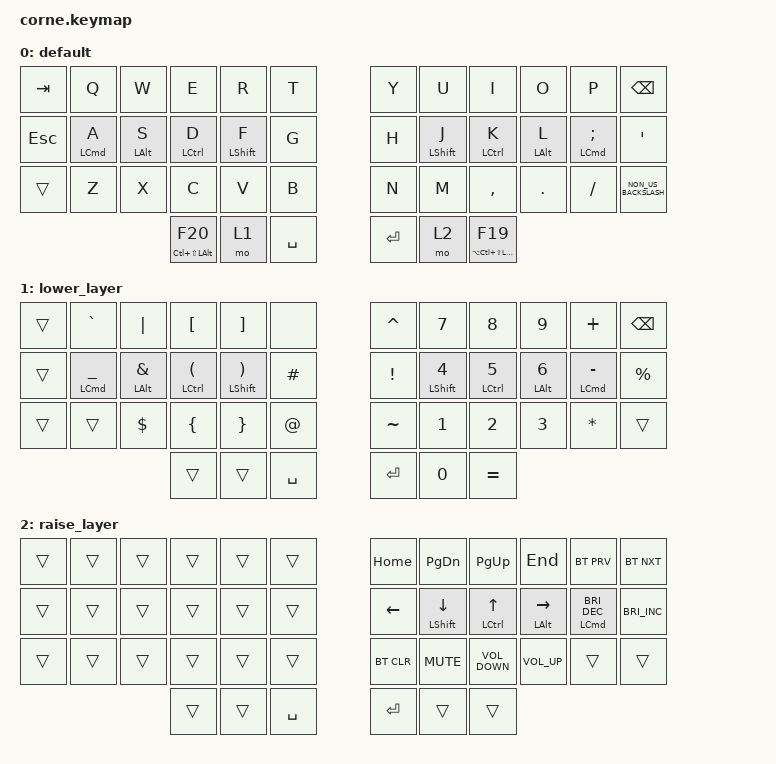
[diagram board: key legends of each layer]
/*
 * Copyright (c) 2020 The ZMK Contributors
 *
 * SPDX-License-Identifier: MIT
 */

#include <behaviors.dtsi>
#include <dt-bindings/zmk/bt.h>
#include <dt-bindings/zmk/keys.h>

/ {
    behaviors {
        hml: homewrow_mods_left {
            compatible = "zmk,behavior-hold-tap";
            label = "HOMEROW_MODS_LEFT_HAND";
            bindings = <&kp>, <&kp>;

            #binding-cells = <2>;
            tapping-term-ms = <200>;
            flavor = "balanced";
            hold-trigger-on-release;
        };

        hmr: homewrow_mods_right {
            compatible = "zmk,behavior-hold-tap";
            label = "HOMEROW_MODS_RIGHT_HAND";
            bindings = <&kp>, <&kp>;

            #binding-cells = <2>;
            tapping-term-ms = <200>;
            flavor = "balanced";
            hold-trigger-on-release;
        };

        hyper_or_f19: hyper_or_f19 {
            compatible = "zmk,behavior-hold-tap";
            label = "HYPER_OR_F19";
            bindings = <&kp>, <&kp>;

            #binding-cells = <2>;
            tapping-term-ms = <200>;
            flavor = "hold-preferred";
        };

        meh_or_f20: meh_or_f20 {
            compatible = "zmk,behavior-hold-tap";
            label = "MEH_OR_F20";
            bindings = <&kp>, <&kp>;

            #binding-cells = <2>;
            tapping-term-ms = <200>;
            flavor = "hold-preferred";
        };
    };

    keymap {
        compatible = "zmk,keymap";

        default {
            bindings = <
&kp TAB  &kp Q        &kp W        &kp E                         &kp R         &kp T        &kp Y      &kp U          &kp I                               &kp O        &kp P                &kp BSPC
&kp ESC  &hml LCMD A  &hml LALT S  &hml LCTRL D                  &hml LSHFT F  &kp G        &kp H      &hmr LSHIFT J  &hmr LCTRL K                        &hmr LALT L  &hmr LCMD SEMICOLON  &kp APOS
&trans   &kp Z        &kp X        &kp C                         &kp V         &kp B        &kp N      &kp M          &kp COMMA                           &kp DOT      &kp FSLH             &kp NON_US_BACKSLASH
                                   &meh_or_f20 LC(LS(LALT)) F20  &mo 1         &kp SPACE    &kp ENTER  &mo 2          &hyper_or_f19 LA(LC(LS(LCMD))) F19
            >;
        };

        lower_layer {
            // -----------------------------------------------------------------------------------------
            // |  TAB |  1  |  2  |  3  |  4  |  5  |   |  6  |  7  |  8  |  9  |  0  | BSPC |
            // | BTCLR| BT1 | BT2 | BT3 | BT4 | BT5 |   | LFT | DWN |  UP | RGT |     |      |
            // | SHFT |     |     |     |     |     |   |     |     |     |     |     |      |
            //                    | GUI |     | SPC |   | ENT |     | ALT |

            bindings = <
&trans  &kp GRAVE             &kp PIPE             &kp LEFT_BRACKET             &kp RIGHT_BRACKET              &none          &kp CARET        &kp NUMBER_7          &kp NUMBER_8         &kp NUMBER_9        &kp PLUS         &kp BSPC
&trans  &hml LCMD UNDERSCORE  &hml LALT AMPERSAND  &hml LCTRL LEFT_PARENTHESIS  &hml LSHIFT RIGHT_PARENTHESIS  &kp HASH       &kp EXCLAMATION  &hmr LSHIFT NUMBER_4  &hmr LCTRL NUMBER_5  &hmr LALT NUMBER_6  &hmr LCMD MINUS  &kp PERCENT
&trans  &trans                &kp DOLLAR           &kp LEFT_BRACE               &kp RIGHT_BRACE                &kp AT_SIGN    &kp TILDE        &kp NUMBER_1          &kp NUMBER_2         &kp NUMBER_3        &kp ASTERISK     &trans
                                                   &trans                       &trans                         &kp SPACE      &kp RET          &kp NUMBER_0          &kp EQUAL
            >;
        };

        raise_layer {
            // -----------------------------------------------------------------------------------------
            // |  TAB |  !  |  @  |  #  |  $  |  %  |   |  ^  |  &  |  *  |  (  |  )  | BSPC |
            // | CTRL |     |     |     |     |     |   |  -  |  =  |  [  |  ]  |  \  |  `   |
            // | SHFT |     |     |     |     |     |   |  _  |  +  |  {  |  }  | "|" |  ~   |
            //                    | GUI |     | SPC |   | ENT |     | ALT |

            bindings = <
&trans  &trans  &trans  &trans  &trans  &trans       &kp HOME        &kp PAGE_DOWN           &kp PAGE_UP          &kp END                &bt BT_PRV                  &bt BT_NXT
&trans  &trans  &trans  &trans  &trans  &trans       &kp LEFT_ARROW  &hmr LSHIFT DOWN_ARROW  &hmr LCTRL UP_ARROW  &hmr LALT RIGHT_ARROW  &hmr LCMD C_BRIGHTNESS_DEC  &kp C_BRIGHTNESS_INC
&trans  &trans  &trans  &trans  &trans  &trans       &bt BT_CLR      &kp C_MUTE              &kp C_VOLUME_DOWN    &kp C_VOLUME_UP        &trans                      &trans
                        &trans  &trans  &kp SPACE    &kp RET         &trans                  &trans
            >;
        };
    };
};
